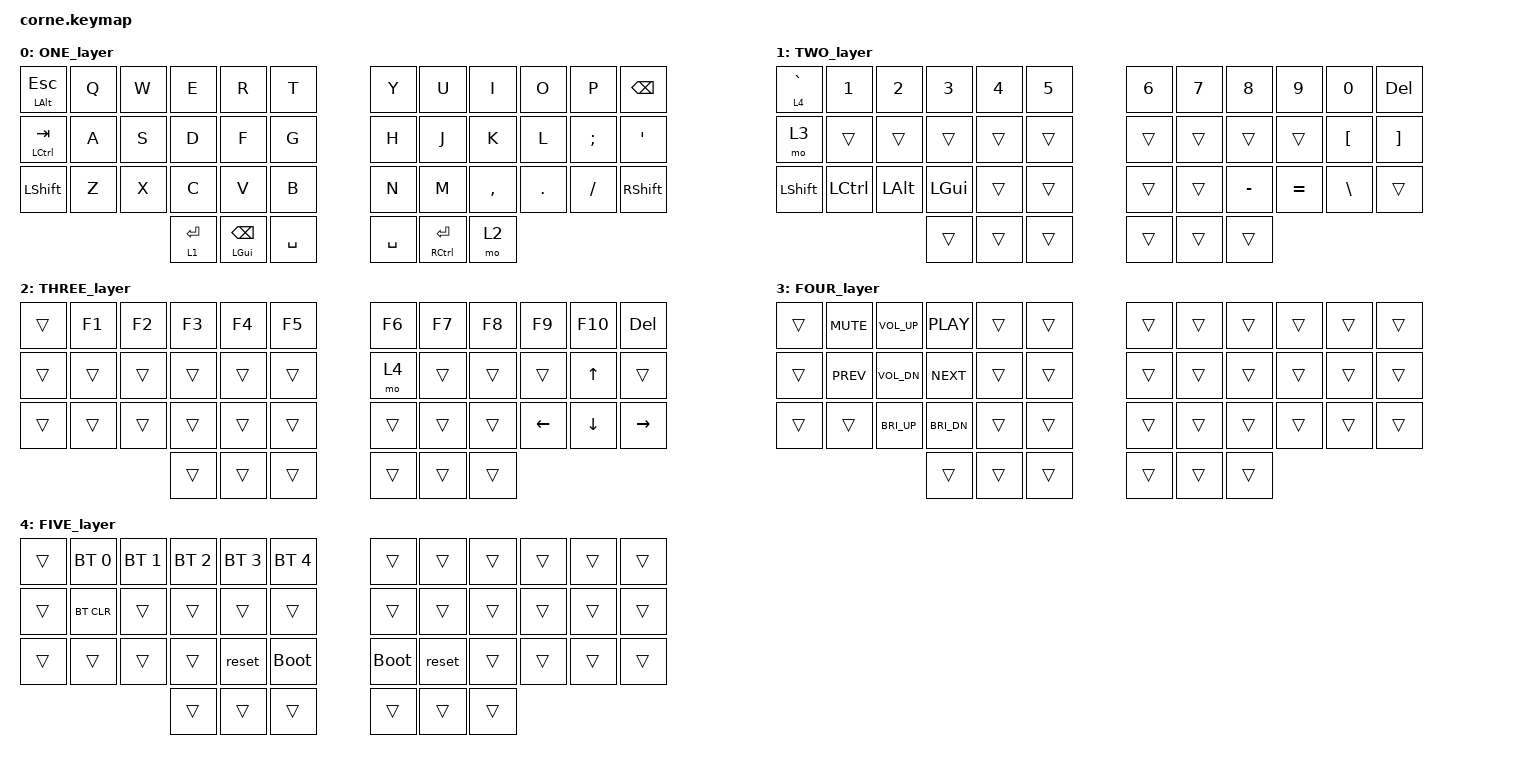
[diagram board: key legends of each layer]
/*
 * Copyright (c) 2020 The ZMK Contributors
 *
 * SPDX-License-Identifier: MIT
 */

#include <behaviors.dtsi>
#include <dt-bindings/zmk/keys.h>
#include <dt-bindings/zmk/bt.h>
#define ONE 0
#define TWO 1
#define THREE 2
#define FOUR 3
#define FIVE 4

/ {
        keymap {
                compatible = "zmk,keymap";

                ONE_layer {
// -----------------------------------------------------------------------------------------
// | ESC  |  Q  |  W  |  E  |  R  |  T  |   |  Y  |  U   |  I  |  O  |  P  | BKSP |
// | Tab  |  A  |  S  |  D  |  F  |  G  |   |  H  |  J   |  K  |  L  |  ;  |  '   |
// | SHFT |  Z  |  X  |  C  |  V  |  B  |   |  N  |  M   |  ,  |  .  |  /  |SFT   |
//                    |2 Ent|BS CT|GUISP|   |CTRSP|ALTENT|3    |
                        bindings = <
   &mt LALT  ESC   &kp Q &kp W &kp E &kp R   &kp T                   &kp Y &kp U  &kp I         &kp O   &kp P    &kp BSPC
   &mt LCTRL TAB   &kp A &kp S &kp D &kp F   &kp G                   &kp H &kp J  &kp K         &kp L   &kp SEMI &kp SQT
   &kp LSHFT       &kp Z &kp X &kp C &kp V   &kp B                   &kp N &kp M  &kp COMMA     &kp DOT &kp FSLH &kp RSHIFT
                   &lt 1 RET   &mt LGUI BSPC &kp SPACE               &kp SPACE    &mt RCTRL RET &mo 2 
                        >;
                };
                TWO_layer {
// -----------------------------------------------------------------------------------------
// | ` 5  |  1  |  2  |  3  |  4  |  5  |   |  6  |  7  |  8  |  9  |  0  |Delete|
// |      |     |     |     |     |     |   |     |     |     |     |  [  |  ]   |
// |SHIFT |CTRL |ALT  |GUI  |     |     |   |     |     | -   | =   |  \  |      |
//                    |     |     |     |   |     |     |     |
                        bindings = <
   &lt 4 GRAVE  &kp N1       &kp N2       &kp N3       &kp N4       &kp N5              &kp N6   &kp N7   &kp N8     &kp N9    &kp N0     &kp DEL
   &mo 3        &trans       &trans       &trans       &trans       &trans              &trans   &trans   &trans     &trans    &kp LBKT   &kp RBKT
   &kp LSHFT    &kp LCTRL    &kp LALT     &kp LGUI     &trans       &trans              &trans   &trans   &kp MINUS  &kp EQUAL &kp BSLH   &trans
                          	               &trans       &trans       &trans              &trans   &trans   &trans
                        >;
                };
                THREE_layer {
// -----------------------------------------------------------------------------------------
// |      | F1  | F2  | F3  | F4  | F5  |   | F6  | F7  | F8  | F9  | F10 |Delete|
// |      |     |     |     |     |     |   |FIVE |     |     |     | UP  |      |
// |      |     |     |     |     |     |   |     |     |     |LEFT |DOWN |RIGHT |
//                    |     |     |     |   |     |     |     |
                        bindings = <
   &trans  &kp F1  &kp F2  &kp F3  &kp F4  &kp F5      &kp F6       &kp F7  &kp F8  &kp F9    &kp F10   &kp DEL
   &trans  &trans  &trans  &trans  &trans  &trans      &mo 4        &trans  &trans  &trans    &kp UP    &trans
   &trans  &trans  &trans  &trans  &trans  &trans      &trans       &trans  &trans  &kp LEFT  &kp DOWN  &kp RIGHT
                           &trans  &trans  &trans      &trans       &trans  &trans
                        >;
                };
                FOUR_layer {
// -----------------------------------------------------------------------------------------
// |      |MUTE |VOLU |PLAY |     |     |   |     |     |     |     |     |      |
// |      |PREV |VOLD |NEXT |     |     |   |     |     |     |     |     |      |
// |      |     |BRTU |BRTD |     |     |   |     |     |     |     |     |      |
//                    |     |     |     |   |     |     |     |
                        bindings = <
   &trans  &kp C_MUTE       &kp C_VOL_UP       &kp C_PLAY       &trans       &trans         &trans &trans &trans  &trans &trans &trans
   &trans  &kp C_PREV       &kp C_VOL_DN       &kp C_NEXT       &trans       &trans         &trans &trans &trans  &trans &trans &trans
   &trans  &trans           &kp C_BRI_UP       &kp C_BRI_DN     &trans       &trans         &trans &trans &trans  &trans &trans &trans
                                               &trans           &trans       &trans         &trans &trans &trans
                        >;
                };
                FIVE_layer {
// -----------------------------------------------------------------------------------------
// |      | BT1 | BT2 | BT3 | BT4 | BT5 |   |     |     |     |     |     |      |
// |      |BTCLR|     |     |     |     |   |     |     |     |     |     |      |
// |      |     |     |     |RESET|BOOT |   |BOOT |RESET|     |     |     |      |
//                    |     |     |     |   |     |     |     |
                        bindings = <
   &trans  &bt BT_SEL 0 &bt BT_SEL 1 &bt BT_SEL 2 &bt BT_SEL 3 &bt BT_SEL 4        &trans &trans &trans  &trans  &trans &trans
   &trans  &bt BT_CLR   &trans       &trans       &trans       &trans              &trans &trans &trans  &trans  &trans &trans
   &trans  &trans       &trans       &trans       &reset       &bootloader         &bootloader   &reset  &trans  &trans  &trans &trans
                                     &trans       &trans       &trans              &trans &trans &trans
                        >;
                };
        };
};
